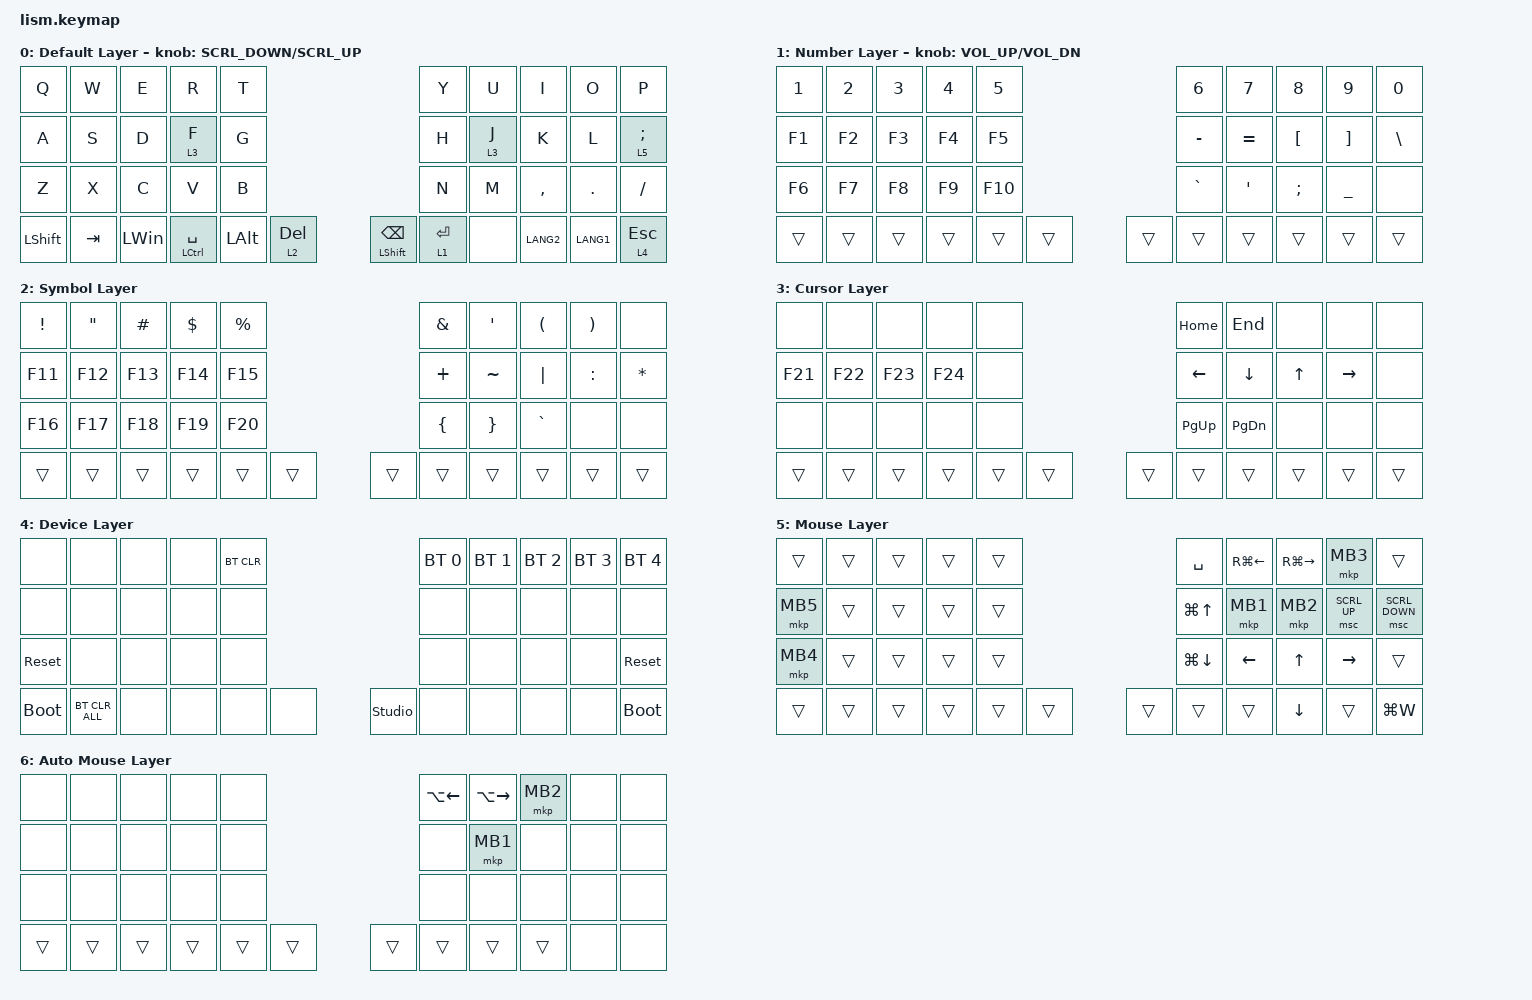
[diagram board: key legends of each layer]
#define ZMK_POINTING_DEFAULT_SCRL_VAL 200

#include <behaviors.dtsi>
#include <dt-bindings/zmk/bt.h>
#include <dt-bindings/zmk/keys.h>
#include <dt-bindings/zmk/pointing.h>
#include <dt-bindings/zmk/mouse.h>

&mt {
    tapping-term-ms = <300>;
    flavor = "balanced";
};

&lt {
    quick-tap-ms = <300>;
};

/ {
    macros {
        emoji: emoji_macro {
            compatible = "zmk,behavior-macro";
            label = "EMOJI";
            #binding-cells = <0>;
            bindings =
                <&macro_press &kp CAPSLOCK>,
                <&macro_tap &kp E>,
                <&macro_release &kp CAPSLOCK>;
        };
    };

    behaviors {
        encoder_msc: sensor_rotate_msc {
            compatible = "zmk,behavior-sensor-rotate-var";
            #sensor-binding-cells = <2>;
            bindings = <&msc>, <&msc>;
            tap-ms = <20>;
        };

        encoder_kp: sensor_rotate_kp {
            compatible = "zmk,behavior-sensor-rotate-var";
            #sensor-binding-cells = <2>;
            bindings = <&kp>, <&kp>;
        };
    };

    keymap {
        compatible = "zmk,keymap";

        default_layer {
            display-name = "Default Layer";
            bindings = <
                &kp Q           &kp W    &kp E         &kp R            &kp T                                                &kp Y        &kp U           &kp I        &kp O        &kp P
                &kp A           &kp S    &kp D         &lt 3 F           &kp G                                                &kp H        &lt 3 J          &kp K        &kp L        &lt 5 SEMI
                &kp Z           &kp X    &kp C         &kp V            &kp B                                                &kp N        &kp M           &kp COMMA    &kp DOT      &kp SLASH
                &kp LEFT_SHIFT  &kp TAB  &kp LEFT_WIN  &mt LCTRL SPACE  &kp LEFT_ALT  &lt 2 DEL    &mt LEFT_SHIFT BACKSPACE  &lt 1 ENTER  &none          &kp LANG2    &kp LANG1    &lt 4 ESC
            >;

            sensor-bindings = <&encoder_msc SCRL_DOWN SCRL_UP>;
        };

        layer_1 {
            display-name = "Number Layer";
            bindings = <
                &kp N1        &kp N2        &kp N3        &kp N4        &kp N5                     &kp N6           &kp N7         &kp N8        &kp N9        &kp N0
                &kp F1        &kp F2        &kp F3        &kp F4        &kp F5                     &kp MINUS        &kp EQUAL      &kp LBKT      &kp RBKT      &kp BSLH
                &kp F6        &kp F7        &kp F8        &kp F9        &kp F10                    &kp GRAVE        &kp SQT        &kp SEMI      &kp UNDER     &none
                &trans        &trans        &trans        &trans        &trans   &trans    &trans  &trans           &trans         &trans        &trans        &trans
            >;

            sensor-bindings = <&encoder_kp C_VOL_UP C_VOL_DN>;
        };

        layer_2 {
            display-name = "Symbol Layer";
            bindings = <
                &kp EXCL      &kp DQT       &kp HASH      &kp DLLR      &kp PRCNT                  &kp AMPS         &kp SQT        &kp LPAR      &kp RPAR      &none
                &kp F11       &kp F12       &kp F13       &kp F14       &kp F15                    &kp PLUS         &kp TILDE      &kp PIPE      &kp COLON     &kp ASTERISK
                &kp F16       &kp F17       &kp F18       &kp F19       &kp F20                    &kp LBRC         &kp RBRC       &kp GRAVE     &none         &none
                &trans        &trans        &trans        &trans        &trans   &trans    &trans  &trans           &trans         &trans        &trans        &trans
            >;
        };

        layer_3 {
            display-name = "Cursor Layer";
            bindings = <
                &none    &none    &none    &none    &none                     &kp HOME        &kp END         &none         &none            &none
                &kp F21  &kp F22  &kp F23  &kp F24  &none                     &kp LEFT_ARROW  &kp DOWN_ARROW  &kp UP_ARROW  &kp RIGHT_ARROW  &none
                &none    &none    &none    &none    &none                     &kp PAGE_UP     &kp PAGE_DOWN   &none         &none            &none
                &trans   &trans   &trans   &trans   &trans  &trans    &trans  &trans          &trans          &trans        &trans           &trans
            >;
        };

        layer_4 {
            display-name = "Device Layer";
            bindings = <
                &none        &none           &none  &none  &bt BT_CLR                           &bt BT_SEL 0  &bt BT_SEL 1  &bt BT_SEL 2  &bt BT_SEL 3  &bt BT_SEL 4
                &none        &none           &none  &none  &none                                &none         &none         &none         &none         &none
                &sys_reset   &none           &none  &none  &none                                &none         &none         &none         &none         &sys_reset
                &bootloader  &bt BT_CLR_ALL  &none  &none  &none       &none    &studio_unlock  &none         &none         &none         &none         &bootloader
            >;
        };

        layer_5 {
            display-name = "Mouse Layer";
            bindings = <
                &trans           &trans             &trans                &trans                  &trans                                                 &kp SPACE    &kp RG(LEFT)     &kp RG(RIGHT)      &mkp MB3            &trans
                &mkp MB5         &trans             &trans                &trans                  &trans                                                 &kp LG(UP)   &mkp MB1         &mkp MB2           &msc SCRL_UP        &msc SCRL_DOWN
                &mkp MB4         &trans             &trans                &trans                  &trans                                                 &kp LG(DOWN) &kp LEFT         &kp UP             &kp RIGHT           &trans
                &trans           &trans             &trans                &trans                  &trans            &trans              &trans           &trans       &trans           &kp DOWN           &trans              &kp LG(W)
            >;
        };

        layer_6 {
            display-name = "Auto Mouse Layer";
            bindings = <
                &none   &none   &none   &none   &none                     &kp LA(LEFT)   &kp LA(RIGHT)   &mkp MB2      &none         &none
                &none   &none   &none   &none   &none                     &none          &mkp MB1        &none         &none         &none
                &none   &none   &none   &none   &none                     &none          &none           &none         &none         &none
                &trans  &trans  &trans  &trans  &trans  &trans    &trans  &trans         &trans         &trans        &none         &none
            >;
        };

        layer_7 {
            status = "reserved";
            display-name = "Blank Layer";
            bindings = <
                &trans  &trans  &trans  &trans  &trans                    &trans  &trans  &trans  &trans  &trans
                &trans  &trans  &trans  &trans  &trans                    &trans  &trans  &trans  &trans  &trans
                &trans  &trans  &trans  &trans  &trans                    &trans  &trans  &trans  &trans  &trans
                &trans  &trans  &trans  &trans  &trans  &trans    &trans  &trans  &trans  &trans  &trans  &trans
            >;
        };
    };
};
